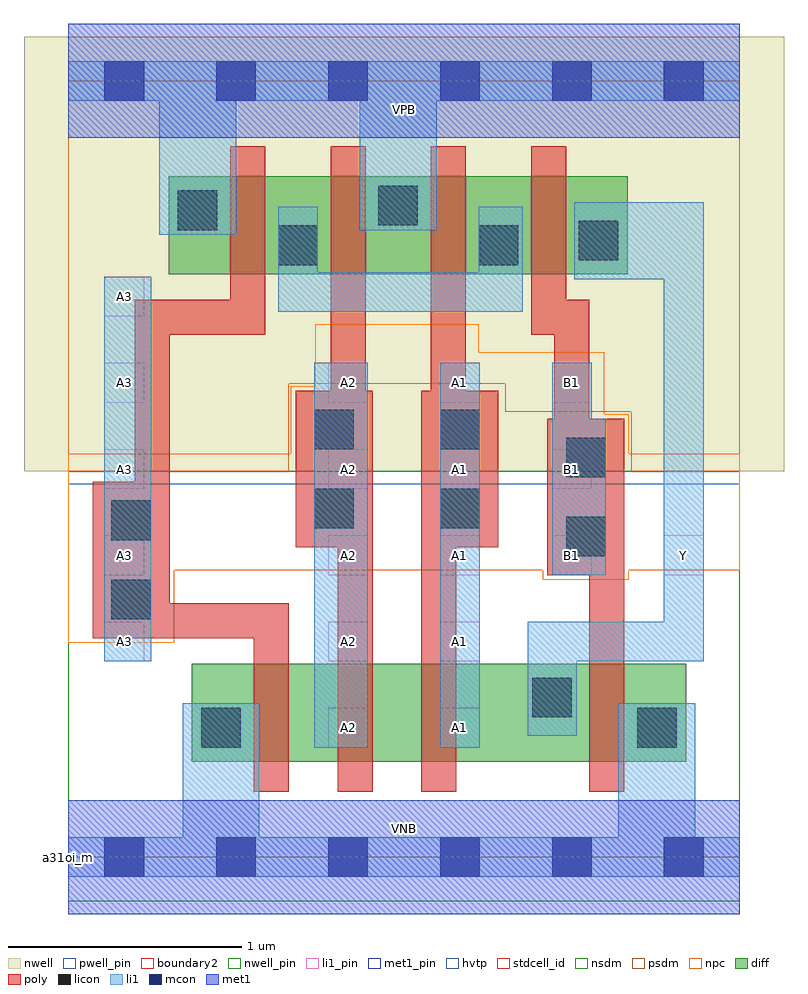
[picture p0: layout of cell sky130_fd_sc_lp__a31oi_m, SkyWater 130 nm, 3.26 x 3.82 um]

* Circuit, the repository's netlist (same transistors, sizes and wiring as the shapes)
* Copyright 2020 The SkyWater PDK Authors
*
* Licensed under the Apache License, Version 2.0 (the "License");
* you may not use this file except in compliance with the License.
* You may obtain a copy of the License at
*
*     https://www.apache.org/licenses/LICENSE-2.0
*
* Unless required by applicable law or agreed to in writing, software
* distributed under the License is distributed on an "AS IS" BASIS,
* WITHOUT WARRANTIES OR CONDITIONS OF ANY KIND, either express or implied.
* See the License for the specific language governing permissions and
* limitations under the License.
*
* SPDX-License-Identifier: Apache-2.0

.SUBCKT sky130_fd_sc_lp__a31oi_m A1 A2 A3 B1 VGND VNB VPB VPWR Y
*.PININFO A1:I A2:I A3:I B1:I VGND:I VNB:I VPB:I VPWR:I Y:O
MMPA0 pndA A1 VPWR VPB sky130_fd_pr__pfet_01v8_hvt m=1 w=0.42U l=0.15U mult=1 sa=0.265
+ sb=0.265 sd=0.28 area=0.063 perim=1.14
MMPA1 pndA A2 VPWR VPB sky130_fd_pr__pfet_01v8_hvt m=1 w=0.42U l=0.15U mult=1 sa=0.265
+ sb=0.265 sd=0.28 area=0.063 perim=1.14
MMPA2 pndA A3 VPWR VPB sky130_fd_pr__pfet_01v8_hvt m=1 w=0.42U l=0.15U mult=1 sa=0.265
+ sb=0.265 sd=0.28 area=0.063 perim=1.14
MMPB0 Y B1 pndA VPB sky130_fd_pr__pfet_01v8_hvt m=1 w=0.42U l=0.15U mult=1 sa=0.265
+ sb=0.265 sd=0.28 area=0.063 perim=1.14
MMNA0 Y A1 sndA1 VNB sky130_fd_pr__nfet_01v8 m=1 w=0.42U l=0.15U mult=1 sa=0.265
+ sb=0.265 sd=0.28 area=0.063 perim=1.14
MMNA1 sndA1 A2 sndA2 VNB sky130_fd_pr__nfet_01v8 m=1 w=0.42U l=0.15U mult=1 sa=0.265
+ sb=0.265 sd=0.28 area=0.063 perim=1.14
MMNA2 sndA2 A3 VGND VNB sky130_fd_pr__nfet_01v8 m=1 w=0.42U l=0.15U mult=1 sa=0.265
+ sb=0.265 sd=0.28 area=0.063 perim=1.14
MMNB0 Y B1 VGND VNB sky130_fd_pr__nfet_01v8 m=1 w=0.42U l=0.15U mult=1 sa=0.265
+ sb=0.265 sd=0.28 area=0.063 perim=1.14
.ENDS sky130_fd_sc_lp__a31oi_m

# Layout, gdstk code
import gdstk
lib = gdstk.Library(unit=1e-6, precision=1e-09)
def R(c, l, rs):  # rectangles x0, y0, x1, y1
    for r in rs: c.add(gdstk.rectangle(r[:2], r[2:], *l))
def A(c, l, x, y, w, h, nx, ny, dx, dy):  # array of equal rectangles
    R(c, l, [(x+i*dx, y+j*dy, x+i*dx+w, y+j*dy+h) for i in range(nx) for j in range(ny)])
def P(c, l, *ps):  # polygons
    for p in ps: c.add(gdstk.Polygon(p, *l))
nwell_pin = (64, 16)
nwell = (64, 20)
diff = (65, 20)
poly = (66, 20)
licon = (66, 44)
li1_pin = (67, 16)
li1 = (67, 20)
mcon = (67, 44)
met1_pin = (68, 16)
met1 = (68, 20)
hvtp = (78, 44)
stdcell_id = (81, 4)
nsdm = (93, 44)
psdm = (94, 20)
npc = (95, 20)
pwell_pin = (122, 16)
boundary2 = (236, 0)

sky130_fd_sc_lp__a31oi_m = lib.new_cell('sky130_fd_sc_lp__a31oi_m')
R(sky130_fd_sc_lp__a31oi_m, nwell_pin, [(0,3.085,2.88,3.33)])
R(sky130_fd_sc_lp__a31oi_m, nwell, [(-0.19,1.655,3.07,3.52)])
R(sky130_fd_sc_lp__a31oi_m, diff, [(0.53,0.41,2.65,0.83), (0.43,2.5,2.4,2.92)])
P(sky130_fd_sc_lp__a31oi_m, poly, [(0.945,1.09),(0.435,1.09),(0.435,2.24),(0.845,2.24),(0.845,3.05),(0.695,3.05),(0.695,2.39),(0.285,2.39),(0.285,1.61),(0.105,1.61),(0.105,0.94),(0.795,0.94),(0.795,0.28),(0.945,0.28)],
  [(1.305,2),(1.275,2),(1.275,3.05),(1.125,3.05),(1.125,2),(0.975,2),(0.975,1.33),(1.155,1.33),(1.155,0.28),(1.305,0.28)],
  [(1.845,2),(1.705,2),(1.705,3.05),(1.555,3.05),(1.555,2),(1.515,2),(1.515,0.28),(1.665,0.28),(1.665,1.33),(1.845,1.33)],
  [(2.385,1.88),(2.235,1.88),(2.235,2.39),(2.135,2.39),(2.135,3.05),(1.985,3.05),(1.985,2.24),(2.085,2.24),(2.085,1.88),(2.055,1.88),(2.055,1.21),(2.235,1.21),(2.235,0.28),(2.385,0.28)])
R(sky130_fd_sc_lp__a31oi_m, licon, [(0.57,0.47,0.74,0.64), (2.44,0.47,2.61,0.64), (1.99,0.6,2.16,0.77), (0.185,1.02,0.355,1.19), (2.135,1.29,2.305,1.46), (0.185,1.36,0.355,1.53), (1.055,1.41,1.225,1.58), (1.595,1.41,1.765,1.58), (2.135,1.63,2.305,1.8), (1.055,1.75,1.225,1.92), (1.595,1.75,1.765,1.92), (0.9,2.54,1.07,2.71), (1.76,2.54,1.93,2.71), (2.19,2.56,2.36,2.73), (0.47,2.69,0.64,2.86), (1.33,2.71,1.5,2.88)])
A(sky130_fd_sc_lp__a31oi_m, li1_pin, 0.155, 0.84, 0.17, 0.17, 1, 5, 0, 0.37)
A(sky130_fd_sc_lp__a31oi_m, li1_pin, 1.115, 1.21, 0.17, 0.17, 4, 1, 0.48, 0)
A(sky130_fd_sc_lp__a31oi_m, li1_pin, 1.115, 1.58, 0.17, 0.17, 3, 2, 0.48, 0.37)
R(sky130_fd_sc_lp__a31oi_m, li1_pin, [(1.115,0.47,1.285,0.64), (1.595,0.47,1.765,0.64), (1.115,0.84,1.285,1.01), (1.595,0.84,1.765,1.01)])
R(sky130_fd_sc_lp__a31oi_m, li1, [(1.055,0.47,1.285,2.12), (1.595,0.47,1.765,2.12), (0.155,0.84,0.355,2.49)])
P(sky130_fd_sc_lp__a31oi_m, li1, [(1.25,2.69),(1.25,3.245),(0.72,3.245),(0.72,2.67),(0.39,2.67),(0.39,3.245),(0,3.245),(0,3.415),(2.88,3.415),(2.88,3.245),(1.58,3.245),(1.58,2.69)],
  [(0.49,0.085),(0.49,0.66),(0.82,0.66),(0.82,0.085),(2.36,0.085),(2.36,0.66),(2.69,0.66),(2.69,0.085),(2.88,0.085),(2.88,-0.085),(0,-0.085),(0,0.085)],
  [(2.075,1.21),(2.075,2.12),(2.245,2.12),(2.245,1.88),(2.305,1.88),(2.305,1.21)],
  [(2.555,1.01),(2.555,2.48),(2.17,2.48),(2.17,2.81),(2.725,2.81),(2.725,0.84),(2.18,0.84),(2.18,0.52),(1.97,0.52),(1.97,1.01)],
  [(1.07,2.51),(1.76,2.51),(1.76,2.79),(1.95,2.79),(1.95,2.34),(0.9,2.34),(0.9,2.79),(1.07,2.79)])
A(sky130_fd_sc_lp__a31oi_m, mcon, 0.155, -0.085, 0.17, 0.17, 6, 2, 0.48, 3.33)
R(sky130_fd_sc_lp__a31oi_m, met1_pin, [(0,0,2.88,0.245), (0,3.085,2.88,3.33)])
R(sky130_fd_sc_lp__a31oi_m, met1, [(0,-0.245,2.88,0.245), (0,3.085,2.88,3.575)])
R(sky130_fd_sc_lp__a31oi_m, hvtp, [(0,1.6,2.88,3.33)])
R(sky130_fd_sc_lp__a31oi_m, stdcell_id, [(0,0,2.88,3.33)])
R(sky130_fd_sc_lp__a31oi_m, nsdm, [(0,-0.19,2.88,1.655)])
P(sky130_fd_sc_lp__a31oi_m, psdm, [(2.88,3.52),(0,3.52),(0,1.655),(0.945,1.655),(0.945,2.03),(1.875,2.03),(1.875,1.91),(2.415,1.91),(2.415,1.655),(2.88,1.655)])
P(sky130_fd_sc_lp__a31oi_m, npc, [(2.88,1.73),(2.405,1.73),(2.405,1.9),(2.3,1.9),(2.3,2.165),(1.76,2.165),(1.76,2.285),(1.06,2.285),(1.06,2.02),(0.955,2.02),(0.955,1.73),(0,1.73),(0,0.92),(0.455,0.92),(0.455,1.23),(2.035,1.23),(2.035,1.19),(2.405,1.19),(2.405,1.23),(2.88,1.23)])
R(sky130_fd_sc_lp__a31oi_m, pwell_pin, [(0,0,2.88,0.245)])
R(sky130_fd_sc_lp__a31oi_m, boundary2, [(0,0,2.88,3.33)])
sky130_fd_sc_lp__a31oi_m.add(gdstk.Label('VNB', (1.44,0.123), layer=64, texttype=59))
sky130_fd_sc_lp__a31oi_m.add(gdstk.Label('VPB', (1.44,3.208), layer=64, texttype=5))
sky130_fd_sc_lp__a31oi_m.add(gdstk.Label('a31oi_m', (0,0), layer=83, texttype=44))
sky130_fd_sc_lp__a31oi_m.add(gdstk.Label('VPWR', (1.44,3.208), layer=68, texttype=5))
sky130_fd_sc_lp__a31oi_m.add(gdstk.Label('VGND', (1.44,0.123), layer=68, texttype=5))
sky130_fd_sc_lp__a31oi_m.add(gdstk.Label('A3', (0.24,0.925), layer=67, texttype=5))
sky130_fd_sc_lp__a31oi_m.add(gdstk.Label('A3', (0.24,1.295), layer=67, texttype=5))
sky130_fd_sc_lp__a31oi_m.add(gdstk.Label('A3', (0.24,1.665), layer=67, texttype=5))
sky130_fd_sc_lp__a31oi_m.add(gdstk.Label('A3', (0.24,2.035), layer=67, texttype=5))
sky130_fd_sc_lp__a31oi_m.add(gdstk.Label('A3', (0.24,2.405), layer=67, texttype=5))
sky130_fd_sc_lp__a31oi_m.add(gdstk.Label('B1', (2.16,1.295), layer=67, texttype=5))
sky130_fd_sc_lp__a31oi_m.add(gdstk.Label('B1', (2.16,1.665), layer=67, texttype=5))
sky130_fd_sc_lp__a31oi_m.add(gdstk.Label('B1', (2.16,2.035), layer=67, texttype=5))
sky130_fd_sc_lp__a31oi_m.add(gdstk.Label('A1', (1.68,0.555), layer=67, texttype=5))
sky130_fd_sc_lp__a31oi_m.add(gdstk.Label('A1', (1.68,0.925), layer=67, texttype=5))
sky130_fd_sc_lp__a31oi_m.add(gdstk.Label('A1', (1.68,1.295), layer=67, texttype=5))
sky130_fd_sc_lp__a31oi_m.add(gdstk.Label('A1', (1.68,1.665), layer=67, texttype=5))
sky130_fd_sc_lp__a31oi_m.add(gdstk.Label('A1', (1.68,2.035), layer=67, texttype=5))
sky130_fd_sc_lp__a31oi_m.add(gdstk.Label('A2', (1.2,0.555), layer=67, texttype=5))
sky130_fd_sc_lp__a31oi_m.add(gdstk.Label('A2', (1.2,0.925), layer=67, texttype=5))
sky130_fd_sc_lp__a31oi_m.add(gdstk.Label('A2', (1.2,1.295), layer=67, texttype=5))
sky130_fd_sc_lp__a31oi_m.add(gdstk.Label('A2', (1.2,1.665), layer=67, texttype=5))
sky130_fd_sc_lp__a31oi_m.add(gdstk.Label('A2', (1.2,2.035), layer=67, texttype=5))
sky130_fd_sc_lp__a31oi_m.add(gdstk.Label('Y', (2.64,1.295), layer=67, texttype=5))

lib.write_gds('sky130_fd_sc_lp__a31oi_m.gds')
